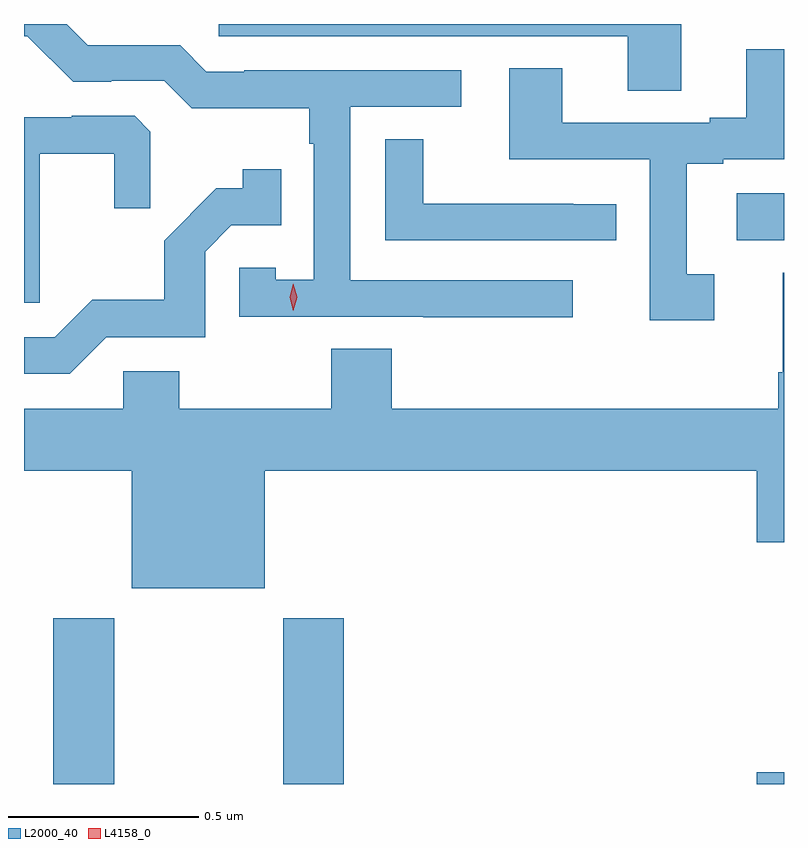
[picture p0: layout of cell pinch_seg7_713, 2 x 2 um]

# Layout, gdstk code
import gdstk
lib = gdstk.Library(unit=1e-6, precision=1e-09)
def R(c, l, rs):  # rectangles x0, y0, x1, y1
    for r in rs: c.add(gdstk.rectangle(r[:2], r[2:], *l))
def P(c, l, *ps):  # polygons
    for p in ps: c.add(gdstk.Polygon(p, *l))
L2000_40 = (2000, 40)
L4158_0 = (4158, 0)

pinch_seg7_713 = lib.new_cell('pinch_seg7_713')
R(pinch_seg7_713, L2000_40, [(211.109,1007.784,211.269,1008.22), (211.714,1007.784,211.874,1008.22), (212.96,1007.784,213.032,1007.815), (212.907,1009.215,213.032,1009.339)])
P(pinch_seg7_713, L2000_40, [(212.476,1009.11),(211.89,1009.11),(211.89,1009.566),(212.182,1009.566),(212.182,1009.662),(211.612,1009.662),(211.612,1009.659),(211.512,1009.659),(211.443,1009.728),(211.2,1009.728),(211.144,1009.784),(211.032,1009.784),(211.032,1009.752),(211.041,1009.752),(211.161,1009.632),(211.262,1009.632),(211.262,1009.635),(211.401,1009.635),(211.474,1009.562),(211.782,1009.562),(211.782,1009.469),(211.794,1009.469),(211.794,1009.111),(211.695,1009.111),(211.695,1009.143),(211.599,1009.143),(211.599,1009.014),(212.083,1009.014),(212.083,1009.012),(212.476,1009.012)],
  [(212.761,1009.784),(211.545,1009.784),(211.545,1009.752),(212.621,1009.752),(212.621,1009.609),(212.761,1009.609)],
  [(212.848,1009.125),(212.776,1009.125),(212.776,1009.416),(212.872,1009.416),(212.872,1009.428),(213.032,1009.428),(213.032,1009.717),(212.933,1009.717),(212.933,1009.537),(212.837,1009.537),(212.837,1009.524),(212.449,1009.524),(212.449,1009.667),(212.309,1009.667),(212.309,1009.428),(212.679,1009.428),(212.679,1009.005),(212.848,1009.005)],
  [(211.073,1009.442),(211.27,1009.442),(211.27,1009.299),(211.364,1009.299),(211.364,1009.501),(211.323,1009.542),(211.158,1009.542),(211.158,1009.539),(211.032,1009.539),(211.032,1009.05),(211.073,1009.05)],
  [(212.59,1009.31),(212.477,1009.31),(212.477,1009.311),(212.082,1009.311),(212.082,1009.481),(211.983,1009.481),(211.983,1009.215),(212.59,1009.215)],
  [(211.248,1008.96),(211.509,1008.96),(211.509,1009.185),(211.578,1009.254),(211.709,1009.254),(211.709,1009.402),(211.608,1009.402),(211.608,1009.352),(211.538,1009.352),(211.401,1009.214),(211.401,1009.059),(211.212,1009.059),(211.113,1008.96),(211.032,1008.96),(211.032,1008.864),(211.152,1008.864)],
  [(211.293,1008.772),(211.032,1008.772),(211.032,1008.608),(211.316,1008.608),(211.316,1008.299),(211.666,1008.299),(211.666,1008.608),(212.96,1008.608),(212.96,1008.42),(213.032,1008.42),(213.032,1009.129),(213.029,1009.129),(213.029,1008.868),(213.017,1008.868),(213.017,1008.772),(212,1008.772),(212,1008.929),(211.84,1008.929),(211.84,1008.772),(211.44,1008.772),(211.44,1008.87),(211.293,1008.87)])
P(pinch_seg7_713, L4158_0, [(211.741,1009.03),(211.741,1009.03),(211.731,1009.065),(211.741,1009.101),(211.741,1009.101),(211.741,1009.101),(211.751,1009.065),(211.741,1009.03)])

lib.write_gds('pinch_seg7_713.gds')
